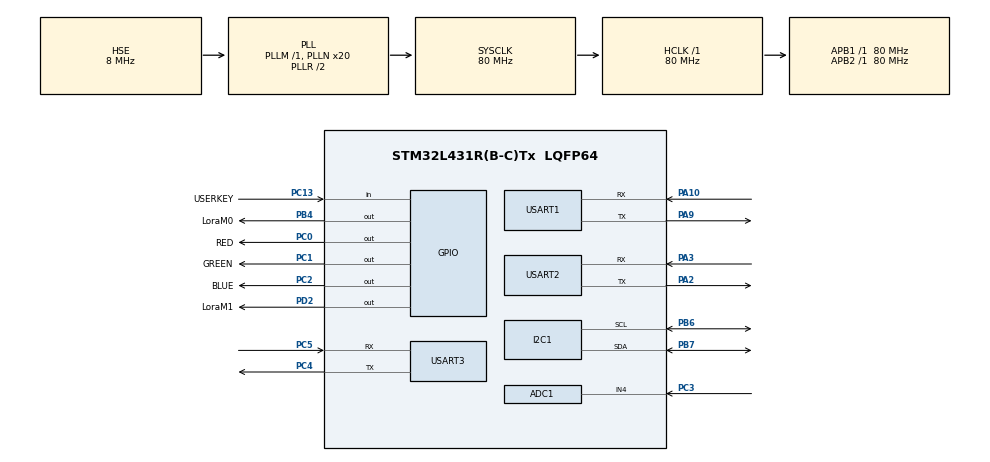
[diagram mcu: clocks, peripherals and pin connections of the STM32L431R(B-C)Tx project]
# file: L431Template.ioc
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ADC1.Channel-0\#ChannelRegularConversion=ADC_CHANNEL_4
ADC1.NbrOfConversionFlag=1
ADC1.OffsetNumber-0\#ChannelRegularConversion=ADC_OFFSET_NONE
ADC1.Rank-0\#ChannelRegularConversion=1
ADC1.SamplingTime-0\#ChannelRegularConversion=ADC_SAMPLETIME_2CYCLES_5
ADC1.master=1
I2C1.Timing=0x10909CEC
Mcu.Family=STM32L4
Mcu.Name=STM32L431R(B-C)Tx
Mcu.Package=LQFP64
NVIC.PriorityGroup=NVIC_PRIORITYGROUP_4
NVIC.TIM2_IRQn=true\:0\:0\:false\:false\:true\:true\:true\:true
NVIC.USART1_IRQn=true\:0\:0\:false\:false\:true\:true\:true\:true
NVIC.USART2_IRQn=true\:0\:0\:false\:false\:true\:true\:true\:true
NVIC.USART3_IRQn=true\:0\:0\:false\:false\:true\:true\:true\:true
PA10.Mode=Asynchronous
PA10.Signal=USART1_RX
PA13\ (JTMS-SWDIO).Mode=Serial_Wire
PA13\ (JTMS-SWDIO).Signal=SYS_JTMS-SWDIO
PA14\ (JTCK-SWCLK).Mode=Serial_Wire
PA14\ (JTCK-SWCLK).Signal=SYS_JTCK-SWCLK
PA2.Mode=Asynchronous
PA2.Signal=USART2_TX
PA3.Mode=Asynchronous
PA3.Signal=USART2_RX
PA9.Mode=Asynchronous
PA9.Signal=USART1_TX
PB4\ (NJTRST).GPIO_Label=LoraM0
PB4\ (NJTRST).Signal=GPIO_Output
PB6.Mode=I2C
PB6.Signal=I2C1_SCL
PB7.Mode=I2C
PB7.Signal=I2C1_SDA
PC0.GPIO_Label=RED
PC0.GPIO_ModeDefaultOutputPP=GPIO_MODE_OUTPUT_PP
PC0.GPIO_PuPd=GPIO_PULLUP
PC0.GPIO_Speed=GPIO_SPEED_FREQ_LOW
PC0.PinState=GPIO_PIN_SET
PC0.Signal=GPIO_Output
PC1.GPIO_Label=GREEN
PC1.GPIO_ModeDefaultOutputPP=GPIO_MODE_OUTPUT_PP
PC1.GPIO_PuPd=GPIO_PULLUP
PC1.GPIO_Speed=GPIO_SPEED_FREQ_LOW
PC1.PinState=GPIO_PIN_SET
PC1.Signal=GPIO_Output
PC13.GPIO_Label=USERKEY
PC13.GPIO_PuPd=GPIO_PULLUP
PC13.Signal=GPIO_Input
PC2.GPIO_Label=BLUE
PC2.GPIO_ModeDefaultOutputPP=GPIO_MODE_OUTPUT_PP
PC2.GPIO_PuPd=GPIO_PULLUP
PC2.GPIO_Speed=GPIO_SPEED_FREQ_LOW
PC2.PinState=GPIO_PIN_SET
PC2.Signal=GPIO_Output
PC3.Signal=ADCx_IN4
PC4.Mode=Asynchronous
PC4.Signal=USART3_TX
PC5.Mode=Asynchronous
PC5.Signal=USART3_RX
PD2.GPIO_Label=LoraM1
PD2.Signal=GPIO_Output
PH0-OSC_IN\ (PH0).Mode=HSE-External-Oscillator
PH0-OSC_IN\ (PH0).Signal=RCC_OSC_IN
PH1-OSC_OUT\ (PH1).Mode=HSE-External-Oscillator
PH1-OSC_OUT\ (PH1).Signal=RCC_OSC_OUT
ProjectManager.HeapSize=0x200
ProjectManager.StackSize=0x400
ProjectManager.TargetToolchain=MDK-ARM V5.32
RCC.ADCFreq_Value=32000000
RCC.AHBFreq_Value=80000000
RCC.APB1Freq_Value=80000000
RCC.APB1TimFreq_Value=80000000
RCC.APB2Freq_Value=80000000
RCC.APB2TimFreq_Value=80000000
RCC.CortexFreq_Value=80000000
RCC.HCLKFreq_Value=80000000
RCC.HSE_VALUE=8000000
RCC.HSI48_VALUE=48000000
RCC.HSI_VALUE=16000000
RCC.LSE_VALUE=32768
RCC.MSI_VALUE=4000000
RCC.PLLN=20
RCC.PLLSourceVirtual=RCC_PLLSOURCE_HSE
RCC.SYSCLKFreq_VALUE=80000000
RCC.SYSCLKSource=RCC_SYSCLKSOURCE_PLLCLK
RCC.VCOOutputFreq_Value=160000000
SH.ADCx_IN4.0=ADC1_IN4,IN4-Single-Ended
TIM2.AutoReloadPreload=TIM_AUTORELOAD_PRELOAD_ENABLE
TIM2.Period=100000-1
TIM2.Prescaler=80-1
USART1.VirtualMode-Asynchronous=VM_ASYNC
USART2.VirtualMode-Asynchronous=VM_ASYNC
USART3.VirtualMode-Asynchronous=VM_ASYNC
VP_TIM2_VS_ClockSourceINT.Mode=Internal
board=custom

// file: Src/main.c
/* USER CODE BEGIN Header */
/**
  ******************************************************************************
  * @file           : main.c
  * @brief          : Main program body
  ******************************************************************************
  * @attention
  *
  * Copyright (c) 2024 STMicroelectronics.
  * All rights reserved.
  *
  * This software is licensed under terms that can be found in the LICENSE file
  * in the root directory of this software component.
  * If no LICENSE file comes with this software, it is provided AS-IS.
  *
  ******************************************************************************
  */
/* USER CODE END Header */
#include "main.h"
#include "adc.h"
#include "i2c.h"
#include "tim.h"
#include "usart.h"
#include "gpio.h"

/* USER CODE BEGIN Includes */
#include "stdio.h"
#include "Led.h"
#include "BH1705.h"
#include "ReadSensor.h"

/* USER CODE END Includes */

/* USER CODE BEGIN PV */
uint8_t TxBuffer[4]={0xAB,0xCD,0xDE,0x00};
uint8_t RxBuffer[10];

/* USER CODE END PV */

void SystemClock_Config(void);

/* USER CODE BEGIN 0 */

void HAL_TIM_PeriodElapsedCallback(TIM_HandleTypeDef *htim)//定时器回调函数
{
	if(htim == &htim2)
	{
		HAL_GPIO_TogglePin(GPIOC,GPIO_PIN_2);
	}
}

void HAL_UART_RxCpltCallback(UART_HandleTypeDef *huart)
{
  if (huart->Instance == USART1)
  {
    if (RxBuffer[0] == '0')
    {
//      HAL_UART_Transmit_IT(&huart1, (uint8_t*)tx_data2, strlen(tx_data2));
			HAL_GPIO_WritePin(GPIOC,GPIO_PIN_0,GPIO_PIN_SET);
    }
		if (RxBuffer[0] == '1')
    {
//      HAL_UART_Transmit_IT(&huart1, (uint8_t*)tx_data3, strlen(tx_data3));
			HAL_GPIO_WritePin(GPIOC,GPIO_PIN_0,GPIO_PIN_RESET);
    }
    HAL_UART_Receive_IT(&huart1, RxBuffer, 1);
  }
}
/* USER CODE END 0 */

int main(void)
{

  /* MCU Configuration--------------------------------------------------------*/

  /* Reset of all peripherals, Initializes the Flash interface and the Systick. */
  HAL_Init();

  /* Configure the system clock */
  SystemClock_Config();

  /* Initialize all configured peripherals */
  MX_GPIO_Init();
  MX_USART2_UART_Init();
  MX_USART3_UART_Init();
  MX_I2C1_Init();
  MX_TIM2_Init();
  MX_ADC1_Init();
  MX_USART1_UART_Init();
  /* USER CODE BEGIN 2 */
	HAL_UART_Receive_IT(&huart1, RxBuffer, 1);
  HAL_TIM_Base_Start_IT(&htim2);//开启定时器2中断
  Lora_Init();
	Sensor_Init();

  /* USER CODE END 2 */

  /* Infinite loop */
  while (1)
  {

    /* USER CODE BEGIN 3 */

    Sensor_Read();

	  HAL_Delay(500);
  }
  /* USER CODE END 3 */
}

void SystemClock_Config(void)
{
  RCC_OscInitTypeDef RCC_OscInitStruct = {0};
  RCC_ClkInitTypeDef RCC_ClkInitStruct = {0};

  /** Configure the main internal regulator output voltage
  */
  if (HAL_PWREx_ControlVoltageScaling(PWR_REGULATOR_VOLTAGE_SCALE1) != HAL_OK)
  {
    Error_Handler();
  }

  /** Initializes the RCC Oscillators according to the specified parameters
  * in the RCC_OscInitTypeDef structure.
  */
  RCC_OscInitStruct.OscillatorType = RCC_OSCILLATORTYPE_HSE;
  RCC_OscInitStruct.HSEState = RCC_HSE_ON;
  RCC_OscInitStruct.PLL.PLLState = RCC_PLL_ON;
  RCC_OscInitStruct.PLL.PLLSource = RCC_PLLSOURCE_HSE;
  RCC_OscInitStruct.PLL.PLLM = 1;
  RCC_OscInitStruct.PLL.PLLN = 20;
  RCC_OscInitStruct.PLL.PLLP = RCC_PLLP_DIV7;
  RCC_OscInitStruct.PLL.PLLQ = RCC_PLLQ_DIV2;
  RCC_OscInitStruct.PLL.PLLR = RCC_PLLR_DIV2;
  if (HAL_RCC_OscConfig(&RCC_OscInitStruct) != HAL_OK)
  {
    Error_Handler();
  }

  /** Initializes the CPU, AHB and APB buses clocks
  */
  RCC_ClkInitStruct.ClockType = RCC_CLOCKTYPE_HCLK|RCC_CLOCKTYPE_SYSCLK
                              |RCC_CLOCKTYPE_PCLK1|RCC_CLOCKTYPE_PCLK2;
  RCC_ClkInitStruct.SYSCLKSource = RCC_SYSCLKSOURCE_PLLCLK;
  RCC_ClkInitStruct.AHBCLKDivider = RCC_SYSCLK_DIV1;
  RCC_ClkInitStruct.APB1CLKDivider = RCC_HCLK_DIV1;
  RCC_ClkInitStruct.APB2CLKDivider = RCC_HCLK_DIV1;

  if (HAL_RCC_ClockConfig(&RCC_ClkInitStruct, FLASH_LATENCY_4) != HAL_OK)
  {
    Error_Handler();
  }
}

void Error_Handler(void)
{
  __disable_irq();
  while (1)
  {
  }
}
